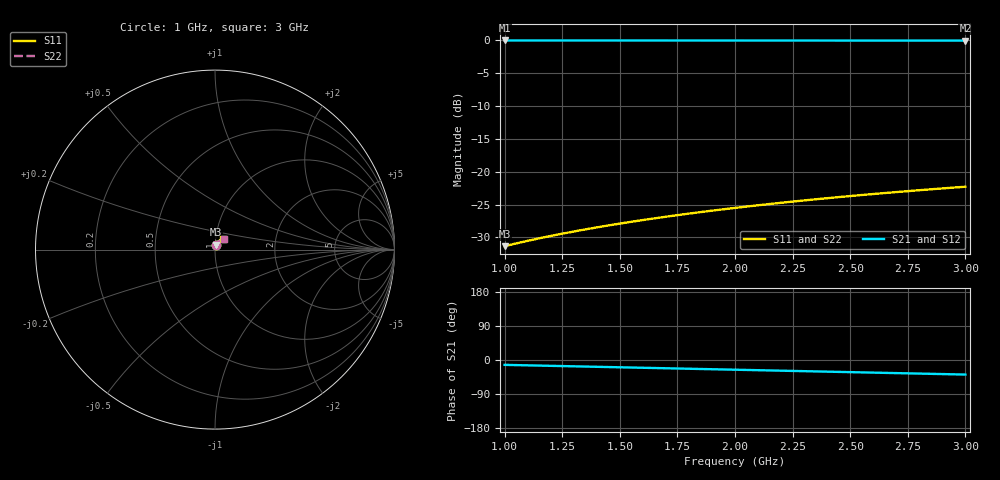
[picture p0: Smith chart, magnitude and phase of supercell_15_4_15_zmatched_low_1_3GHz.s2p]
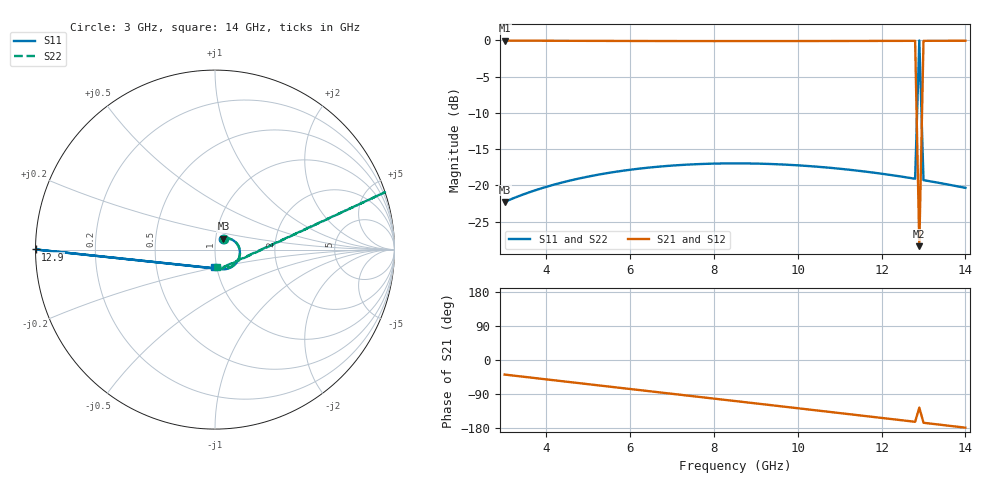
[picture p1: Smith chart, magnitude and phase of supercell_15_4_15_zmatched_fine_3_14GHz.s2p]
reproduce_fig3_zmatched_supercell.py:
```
#!/usr/bin/env python3
"""HFSS–Bloch gain for the 8.34/2.78 µm stub redesign.

Three supercell exports cover 1–27 GHz. Structural L/C/Lf values are interpolated
from adjacent single-cell fits: 8/9 µm unloaded and 2.5/3 µm loaded. Operating
currents and cell counts match the baseline configuration.

The exports contain a stopband near 14 GHz and an isolated S21 outlier at
12.9 GHz. The outlier remains in the input and affects interpolated dispersion.
Outputs are stored in result step 40."""

from __future__ import annotations

import json

from _bootstrap import ROOT

import matplotlib.pyplot as plt
import numpy as np
from twpasolver import TWPAnalysis
from twpasolver.models import TWPA, LCLfBaseCell

from fit_hfss_unit_cells import fit_cell
from hfss_bloch import apply_bloch_parameters
from io_utils import read_touchstone, write_csv_rows, write_json
from plotting import save_figure

INPUTS = ROOT / "hfss_inputs"
OUTPUT = ROOT / "results" / "bloch_corrected" / "step_40_zmatched_supercell_gain"
CELLS_PER_SUPERCELL = 34
GAIN_REDUCTION_DB = 3.0
K_STAR_FIT_BAND_GHZ = (3.0, 8.0)

TARGET_UNLOADED_UM = 8.34
TARGET_LOADED_UM = 2.78

# Start above the redesigned stopband and span the high-gain region.
PUMP_SWEEP_GHZ = np.arange(14.6, 19.61, 0.1)
SIGNAL_SWEEP_GHZ = np.arange(2.5, 11.51, 0.05)


def interpolated_cell(lo: dict, hi: dict, target_um: float) -> dict:
    """Linearly interpolate a fit_cell() result between two nearby lengths."""
    l0, l1 = lo["stub_length_um"], hi["stub_length_um"]
    frac = (target_um - l0) / (l1 - l0)
    return {key: lo[key] + (hi[key] - lo[key]) * frac for key in ("L_pH", "C_fF", "Lf_pH")}


def recompute_k_star(
    freqs_ghz: np.ndarray, k: np.ndarray, fit_band_ghz: tuple[float, float]
) -> np.ndarray:
    mask = (freqs_ghz >= fit_band_ghz[0]) & (freqs_ghz <= fit_band_ghz[1])
    fit_coefficients = np.polyfit(freqs_ghz[mask], k[mask], 2)
    return k - np.polyval(fit_coefficients[1:], freqs_ghz)


def load_measured_supercell_s_parameters() -> tuple[np.ndarray, np.ndarray]:
    low_freq, low_s = read_touchstone(INPUTS / "supercell_15_4_15_zmatched_low_1_3GHz.s2p")
    fine_freq, fine_s = read_touchstone(INPUTS / "supercell_15_4_15_zmatched_fine_3_14GHz.s2p")
    aux_freq, aux_s = read_touchstone(INPUTS / "supercell_15_4_15_zmatched_aux_14_27GHz.s2p")
    if not np.isclose(low_freq[-1], fine_freq[0]) or not np.allclose(
        low_s[-1], fine_s[0], atol=1e-12
    ):
        raise ValueError("low/fine sweeps disagree at their 3 GHz overlap")
    if not np.isclose(fine_freq[-1], aux_freq[0]) or not np.allclose(
        fine_s[-1], aux_s[0], atol=1e-12
    ):
        raise ValueError("fine/aux sweeps disagree at their 14 GHz overlap")
    frequencies_ghz = np.concatenate((low_freq, fine_freq[1:], aux_freq[1:]))
    s_matrices = np.concatenate((low_s, fine_s[1:], aux_s[1:]), axis=0)
    return frequencies_ghz, s_matrices


def main() -> None:
    OUTPUT.mkdir(parents=True, exist_ok=True)
    config = json.loads((INPUTS / "amplifier_config.json").read_text(encoding="utf-8"))
    initial_signal_current_a = float(config["Is0_A"])

    unloaded_8 = fit_cell(
        INPUTS,
        {
            "stub_length_um": 8.0,
            "broadband_file": "kinetic_8um_debug.s2p",
            "lowfreq_file": "kinetic_8um_lowfreq.s2p",
        },
    )
    unloaded_9 = fit_cell(
        INPUTS,
        {
            "stub_length_um": 9.0,
            "broadband_file": "kinetic_9um_debug.s2p",
            "lowfreq_file": "kinetic_9um_lowfreq.s2p",
        },
    )
    loaded_2p5 = fit_cell(
        INPUTS,
        {
            "stub_length_um": 2.5,
            "broadband_file": "kinetic_2p5um_debug.s2p",
            "lowfreq_file": "kinetic_2p5um_lowfreq.s2p",
        },
    )
    loaded_3 = fit_cell(
        INPUTS,
        {
            "stub_length_um": 3.0,
            "broadband_file": "kinetic_3um_debug.s2p",
            "lowfreq_file": "kinetic_3um_lowfreq.s2p",
        },
    )
    unloaded_fit = interpolated_cell(unloaded_8, unloaded_9, TARGET_UNLOADED_UM)
    loaded_fit = interpolated_cell(loaded_2p5, loaded_3, TARGET_LOADED_UM)

    unloaded_cell = LCLfBaseCell(
        L=unloaded_fit["L_pH"] * 1e-12,
        C=unloaded_fit["C_fF"] * 1e-15,
        Lf=unloaded_fit["Lf_pH"] * 1e-12,
        N=15,
    )
    loaded_cell = LCLfBaseCell(
        L=loaded_fit["L_pH"] * 1e-12,
        C=loaded_fit["C_fF"] * 1e-15,
        Lf=loaded_fit["Lf_pH"] * 1e-12,
        N=4,
    )
    twpa = TWPA(
        cells=[unloaded_cell, loaded_cell, unloaded_cell],
        N=int(config["supercells"]),
        Istar=float(config["Istar_A"]),
        Idc=float(config["Idc_A"]),
        Ip0=float(config["Ip0_A"]),
    )

    measured_freq_ghz, measured_s = load_measured_supercell_s_parameters()

    engineered = TWPAnalysis(
        twpa=twpa,
        f_arange=(
            config["base_frequency_start_GHz"],
            config["base_frequency_stop_GHz"],
            config["base_frequency_step_GHz"],
        ),
        unit="GHz",
    )
    engineered.update_base_data()
    bloch_provenance = apply_bloch_parameters(
        engineered.data, measured_freq_ghz, measured_s, CELLS_PER_SUPERCELL
    )
    engineered.data["k_star"] = recompute_k_star(
        np.asarray(engineered.data["freqs"]), np.asarray(engineered.data["k"]), K_STAR_FIT_BAND_GHZ
    )

    all_freqs_ghz = np.asarray(engineered.data["freqs"])
    bloch_band_mask = (all_freqs_ghz >= 1.0) & (all_freqs_ghz <= 27.0)
    freqs_ghz = all_freqs_ghz[bloch_band_mask]
    evanescence_per_cell = np.asarray(engineered.data["bloch_evanescence"])[bloch_band_mask]
    s21_db_engineered = -20 * np.log10(np.e) * twpa.N_tot * evanescence_per_cell
    k_star_engineered = np.asarray(engineered.data["k_star"])[bloch_band_mask]

    write_csv_rows(
        OUTPUT / "01_dispersion.csv",
        ["freq_GHz", "S21_db_engineered", "k_star_engineered_rad", "bloch_evanescence_Np_per_cell"],
        [freqs_ghz, s21_db_engineered, k_star_engineered, evanescence_per_cell],
    )

    print(f"Sweeping {len(PUMP_SWEEP_GHZ)} pumps x {len(SIGNAL_SWEEP_GHZ)} signals ...")
    gain_rows = []
    for pump_ghz in PUMP_SWEEP_GHZ:
        result = engineered.gain(
            SIGNAL_SWEEP_GHZ,
            pump=float(pump_ghz),
            Is0=initial_signal_current_a,
            model="minimal_3wm",
            thin=400,
        )
        gain_rows.append(np.asarray(result["gain_db"], dtype=float))
    gain_matrix = np.asarray(gain_rows)
    if not np.all(np.isfinite(gain_matrix)):
        raise FloatingPointError("Gain sweep contains non-finite values")

    write_csv_rows(
        OUTPUT / "02_gain_heatmap.csv",
        ["signal_GHz", *[f"pump_{p:.2f}GHz_gain_dB" for p in PUMP_SWEEP_GHZ]],
        [SIGNAL_SWEEP_GHZ, *gain_matrix],
    )

    bandwidth_rows = []
    for pump_ghz in PUMP_SWEEP_GHZ:
        bandwidth = engineered.bandwidth(
            gain_reduction=GAIN_REDUCTION_DB,
            signal_freqs=SIGNAL_SWEEP_GHZ,
            pump=float(pump_ghz),
            Is0=initial_signal_current_a,
            model="minimal_3wm",
            thin=400,
        )
        mean_gain_db = float(bandwidth["mean_gain"])
        bandwidth_ghz = float(bandwidth["total_bw"])
        bandwidth_rows.append(
            {
                "pump_GHz": float(pump_ghz),
                "mean_B3dB_gain_dB": mean_gain_db,
                "B3dB_bandwidth_GHz": bandwidth_ghz,
                "GBP_dB_GHz": mean_gain_db * bandwidth_ghz,
            }
        )

    write_csv_rows(
        OUTPUT / "03_bandwidth_vs_pump.csv",
        list(bandwidth_rows[0].keys()),
        [[row[key] for row in bandwidth_rows] for key in bandwidth_rows[0]],
    )

    mean_gains_db = np.array([row["mean_B3dB_gain_dB"] for row in bandwidth_rows])
    gbp_db_ghz = np.array([row["GBP_dB_GHz"] for row in bandwidth_rows])
    pump_at_max_gain_ghz = float(PUMP_SWEEP_GHZ[int(np.argmax(mean_gains_db))])
    pump_at_max_gbp_ghz = float(PUMP_SWEEP_GHZ[int(np.argmax(gbp_db_ghz))])
    index_max_gain = int(np.argmin(np.abs(PUMP_SWEEP_GHZ - pump_at_max_gain_ghz)))
    index_max_gbp = int(np.argmin(np.abs(PUMP_SWEEP_GHZ - pump_at_max_gbp_ghz)))
    profile_at_max_gain = gain_matrix[index_max_gain]
    profile_at_max_gbp = gain_matrix[index_max_gbp]

    write_csv_rows(
        OUTPUT / "04_gain_profiles.csv",
        [
            "signal_GHz",
            f"gain_dB_max_gain_pump_{pump_at_max_gain_ghz:.2f}GHz",
            f"gain_dB_max_gbp_pump_{pump_at_max_gbp_ghz:.2f}GHz",
        ],
        [SIGNAL_SWEEP_GHZ, profile_at_max_gain, profile_at_max_gbp],
    )

    provenance = {
        "figure_reproduced": "Fig. 3-style gain reproduction, impedance-matched (Z0=50/80 ohm) 15-4-15 supercell",
        "target_lengths_um": {"unloaded": TARGET_UNLOADED_UM, "loaded": TARGET_LOADED_UM},
        "hfss_supercell_files": [
            "hfss_inputs/supercell_15_4_15_zmatched_low_1_3GHz.s2p",
            "hfss_inputs/supercell_15_4_15_zmatched_fine_3_14GHz.s2p",
            "hfss_inputs/supercell_15_4_15_zmatched_aux_14_27GHz.s2p",
        ],
        "stopband_diagnostic": {
            "real_stopband_GHz": [13.6, 14.6],
            "real_stopband_peak_GHz": 14.0,
            "known_bad_data_point_GHz": 12.9,
            "known_bad_data_point_note": "Linear-interpolation-triangle artifact, confirmed not physical; excluded from interpretation.",
        },
        "cell_fit_caveat": (
            "L/C/Lf interpolated between nearest real HFSS single-cell fits "
            "(8um/9um unloaded, 2.5um/3um loaded), not an exact fit at the "
            "target lengths (8.34/2.78um) -- affects only nonlinear gain "
            "scaling, not dispersion/stopband location (fully HFSS-measured)."
        ),
        "unloaded_cell_fit": unloaded_fit,
        "loaded_cell_fit": loaded_fit,
        "amplifier_config": config,
        "bloch_extraction": bloch_provenance,
        "solver": "twpasolver.TWPAnalysis, model=minimal_3wm",
        "pump_sweep_GHz": [
            float(PUMP_SWEEP_GHZ[0]),
            float(PUMP_SWEEP_GHZ[-1]),
            float(PUMP_SWEEP_GHZ[1] - PUMP_SWEEP_GHZ[0]),
        ],
        "signal_sweep_GHz": [
            float(SIGNAL_SWEEP_GHZ[0]),
            float(SIGNAL_SWEEP_GHZ[-1]),
            float(SIGNAL_SWEEP_GHZ[1] - SIGNAL_SWEEP_GHZ[0]),
        ],
        "pump_max_mean_B3dB_gain_GHz": pump_at_max_gain_ghz,
        "pump_max_GBP_GHz": pump_at_max_gbp_ghz,
        "max_mean_B3dB_gain_dB": float(mean_gains_db[index_max_gain]),
        "max_GBP_dB_GHz": float(gbp_db_ghz[index_max_gbp]),
    }
    write_json(OUTPUT / "05_provenance.json", provenance, sort_keys=True)

    fig, (ax_gain_heatmap, ax_gain_profiles) = plt.subplots(1, 2, figsize=(12, 5))
    mesh = ax_gain_heatmap.pcolormesh(
        SIGNAL_SWEEP_GHZ,
        PUMP_SWEEP_GHZ,
        gain_matrix,
        shading="auto",
        cmap="inferno",
        vmin=0,
        vmax=40,
    )
    fig.colorbar(mesh, ax=ax_gain_heatmap, label="Gain [dB]")
    ax_gain_heatmap.set(
        xlabel="Signal Frequency [GHz]",
        ylabel="Pump Frequency [GHz]",
        title="Gain dome (impedance-matched device)",
    )

    ax_gain_profiles.plot(
        SIGNAL_SWEEP_GHZ,
        profile_at_max_gain,
        color="#2a78d6",
        lw=1.3,
        label=f"max gain (pump={pump_at_max_gain_ghz:.2f} GHz)",
    )
    ax_gain_profiles.plot(
        SIGNAL_SWEEP_GHZ,
        profile_at_max_gbp,
        color="#d6342a",
        lw=1.3,
        label=f"max GBP (pump={pump_at_max_gbp_ghz:.2f} GHz)",
    )
    ax_gain_profiles.set(
        xlabel="Signal Frequency [GHz]", ylabel="Gain [dB]", title="Example gain profiles"
    )
    ax_gain_profiles.legend(fontsize=8)
    ax_gain_profiles.grid(alpha=0.25)

    fig.suptitle(
        "Impedance-matched (Z0=50/80 ohm) 15-4-15 supercell: gain vs. paper's original (12.1/3.9 um)"
    )
    fig.tight_layout()
    save_figure(fig, OUTPUT, "06_zmatched_fig3_reproduction")
    plt.close(fig)

    print(
        f"pump at max mean B3dB gain: {pump_at_max_gain_ghz:.2f} GHz ({mean_gains_db[index_max_gain]:.2f} dB)"
    )
    print(
        f"pump at max GBP: {pump_at_max_gbp_ghz:.2f} GHz ({gbp_db_ghz[index_max_gbp]:.1f} dB.GHz)"
    )
    print(f"Wrote outputs to {OUTPUT}")


if __name__ == "__main__":
    main()
```
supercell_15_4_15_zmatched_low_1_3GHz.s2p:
! Touchstone file exported from HFSS 2026.1.0
!  Generated:  01:55:38 PM Aug 24, 2026
!  Design:  HFSSDesign_Supercell_15_4_15_stub_length
!  Project:  15-4-15_super_cell_cascade_validation
!  Setup:  Setup1
!  Solution:  Sweep_15_4_15_low
! Variables:
!  stub_length = 8.34um
# GHz S MA R 50.000000
! Terminal data exported
! Port[1] = Port1
! Port[2] = Port2
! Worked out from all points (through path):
!   111 points, 1 GHz to 3 GHz, reference 50 ohm
!   highest |S21| = 0.00 dB at 1 GHz (marker M1); lowest = 0.0 dB at 3 GHz (marker M2)
!   group delay of S21, straight-line fit = 35.5 ps
!   lowest |S11| = -31.3 dB at 1 GHz (marker M3), VSWR 1.06, Z = 50.4 + j2.7 ohm
!   |S11| at or under -10 dB: start of sweep to end of sweep
!   |S22| runs from -31.3 to -22.3 dB; largest |S21 - S12| = 5.7e-09
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1  0.02709 80.9  0.9996 -12.8  0.9996 -12.8  0.02709 73.5
! Gamma 6.85364685894651E-31 877.515336255417 3.25580123066977E-32 878.360833403353
! Port Impedance 50 0 50 0
1.090909  0.0295 79.4  0.9996 -14.0  0.9996 -14.0  0.0295 72.6
1.2  0.03238 77.6  0.9995 -15.4  0.9995 -15.4  0.03238 71.6
1.309091  0.03525 75.9  0.9994 -16.8  0.9994 -16.8  0.03525 70.5
1.436364  0.03858 74.0  0.9993 -18.4  0.9993 -18.4  0.03858 69.2
1.709091  0.04563 70.0  0.999 -21.9  0.999 -21.9  0.04563 66.2
2  0.053 65.9  0.9986 -25.6  0.9986 -25.6  0.053 62.8
2.236364  0.05886 62.6  0.9983 -28.7  0.9983 -28.7  0.05886 60.1
2.472727  0.06459 59.4  0.9979 -31.7  0.9979 -31.7  0.06459 57.3
2.727273  0.0706 55.9  0.9975 -34.9  0.9975 -34.9  0.0706 54.2
3  0.07685 52.3  0.997 -38.4  0.997 -38.4  0.07685 50.9
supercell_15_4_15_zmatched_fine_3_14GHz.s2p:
! Touchstone file exported from HFSS 2026.1.0
!  Generated:  01:55:58 PM Aug 24, 2026
!  Design:  HFSSDesign_Supercell_15_4_15_stub_length
!  Project:  15-4-15_super_cell_cascade_validation
!  Setup:  Setup1
!  Solution:  Sweep_15_4_15_fine
! Variables:
!  stub_length = 8.34um
# GHz S MA R 50.000000
! Terminal data exported
! Port[1] = Port1
! Port[2] = Port2
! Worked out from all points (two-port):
!   111 points, 3 GHz to 14 GHz, reference 50 ohm
!   highest |S21| = -0.03 dB at 3 GHz (marker M1); lowest = -28.4 dB at 12.9 GHz (marker M2)
!   |S21| within 3 dB of the highest: start of sweep to 12.81 GHz; 12.99 GHz to end of sweep
!   lowest |S11| = -22.3 dB at 3 GHz (marker M3), VSWR 1.17, Z = 54.5 + j6.66 ohm
!   |S11| at or under -10 dB: start of sweep to 12.85 GHz; 12.95 GHz to end of sweep
!   |S22| runs from -22.3 to 0.0 dB; largest |S21 - S12| = 6.6e-05
!   S11 on the Smith chart (normalised r, x): 3 GHz: 1.09, +0.13; 12.9 GHz: 0.00, +0.00; 14 GHz: 0.97, -0.19
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3  0.07685 52.3  0.997 -38.4  0.997 -38.4  0.07685 50.9
! Gamma 0 2632.5463282991 0 2635.08282149548
! Port Impedance 50 0 50 0
4.4  0.1051 33.7  0.9945 -56.3  0.9945 -56.3  0.1051 33.8
5.8  0.1259 15.3  0.992 -74.0  0.992 -74.0  0.1259 16.6
7.1  0.1376 -1.6  0.9905 -90.5  0.9905 -90.5  0.1376 0.6
8.5  0.1418 -19.9  0.9899 -108.3  0.9899 -108.3  0.1418 -16.6
10.5  0.1342 -46.1  0.991 -133.7  0.991 -133.7  0.1342 -41.3
11.7  0.1235 -61.9  0.9923 -149.0  0.9923 -149.0  0.1235 -56.1
12.8  0.1111 -76.5  0.9938 -163.1  0.9938 -163.1  0.1111 -69.7
12.9  0.9998 180.0  0.03806 -125.7  0.03806 -125.7  1 18.7
13  0.1086 -79.2  0.9941 -165.7  0.9941 -165.7  0.1086 -72.2
14  0.0961 -92.5  0.9954 -178.5  0.9953 -178.5  0.0961 -84.6
